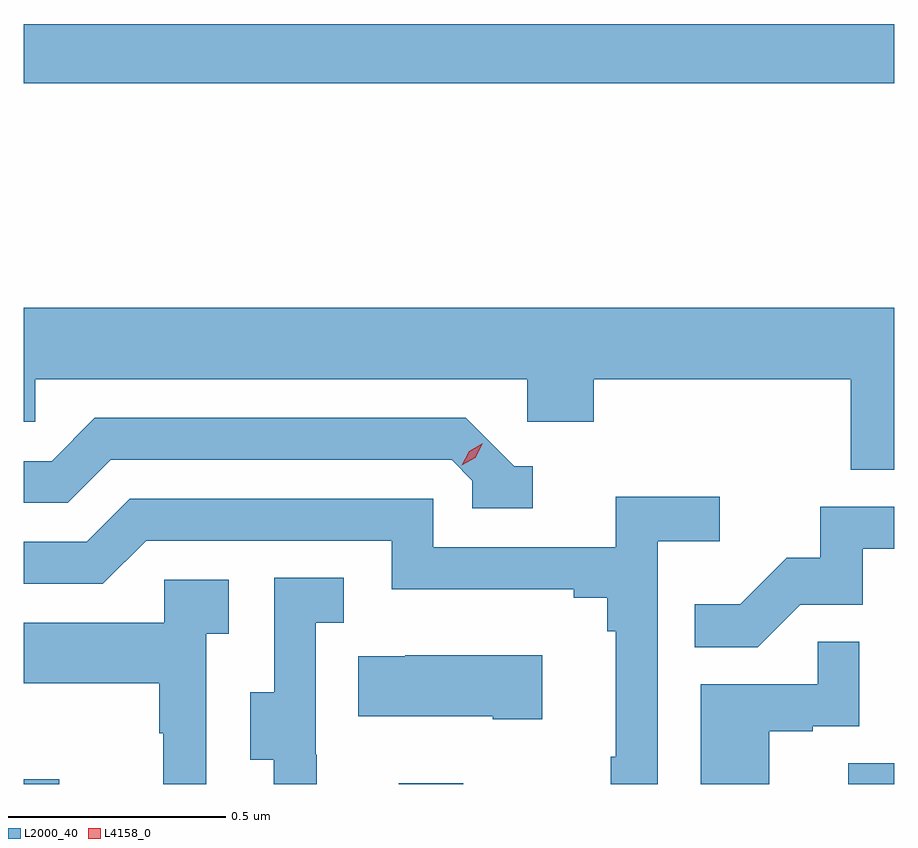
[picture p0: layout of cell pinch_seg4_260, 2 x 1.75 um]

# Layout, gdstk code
import gdstk
lib = gdstk.Library(unit=1e-6, precision=1e-09)
def R(c, l, rs):  # rectangles x0, y0, x1, y1
    for r in rs: c.add(gdstk.rectangle(r[:2], r[2:], *l))
def P(c, l, *ps):  # polygons
    for p in ps: c.add(gdstk.Polygon(p, *l))
L2000_40 = (2000, 40)
L4158_0 = (4158, 0)

pinch_seg4_260 = lib.new_cell('pinch_seg4_260')
R(pinch_seg4_260, L2000_40, [(929.467,811.874,929.549,811.885), (930.329,811.874,930.477,811.876), (931.361,811.874,931.467,811.922), (929.467,813.484,931.467,813.62)])
P(pinch_seg4_260, L2000_40, [(931.467,812.968),(929.467,812.968),(929.467,812.706),(929.493,812.706),(929.493,812.804),(930.624,812.804),(930.624,812.706),(930.776,812.706),(930.776,812.804),(931.367,812.804),(931.367,812.596),(931.467,812.596)],
  [(930.637,812.604),(930.594,812.604),(930.483,812.715),(929.63,812.715),(929.531,812.616),(929.467,812.616),(929.467,812.52),(929.568,812.52),(929.667,812.619),(930.45,812.619),(930.498,812.571),(930.498,812.508),(930.637,812.508)],
  [(930.924,812.432),(931.066,812.432),(931.066,812.534),(930.827,812.534),(930.827,812.418),(930.408,812.418),(930.408,812.529),(929.711,812.529),(929.612,812.43),(929.467,812.43),(929.467,812.334),(929.649,812.334),(929.748,812.433),(930.312,812.433),(930.312,812.321),(930.731,812.321),(930.731,812.302),(930.808,812.302),(930.808,812.225),(930.827,812.225),(930.827,811.937),(930.816,811.937),(930.816,811.874),(930.924,811.874)],
  [(931.251,812.286),(931.395,812.286),(931.395,812.415),(931.467,812.415),(931.467,812.511),(931.297,812.511),(931.297,812.394),(931.22,812.394),(931.113,812.287),(931.009,812.287),(931.009,812.188),(931.153,812.188)],
  [(930.14,811.941),(930.138,811.941),(930.138,812.245),(930.202,812.245),(930.202,812.348),(930.042,812.348),(930.042,812.085),(929.987,812.085),(929.987,811.93),(930.041,811.93),(930.041,811.874),(930.14,811.874)],
  [(929.886,812.219),(929.938,812.219),(929.938,812.343),(929.79,812.343),(929.79,812.245),(929.467,812.245),(929.467,812.105),(929.778,812.105),(929.778,811.991),(929.788,811.991),(929.788,811.874),(929.886,811.874)],
  [(931.18,811.995),(931.28,811.995),(931.28,812.007),(931.386,812.007),(931.386,812.201),(931.291,812.201),(931.291,812.103),(931.022,812.103),(931.022,811.874),(931.18,811.874)],
  [(930.658,812.17),(930.343,812.17),(930.343,812.167),(930.235,812.167),(930.235,812.03),(930.545,812.03),(930.545,812.023),(930.658,812.023)])
P(pinch_seg4_260, L4158_0, [(930.473,812.606),(930.473,812.606),(930.49,812.638),(930.521,812.657),(930.522,812.657),(930.522,812.657),(930.504,812.624),(930.473,812.606)])

lib.write_gds('pinch_seg4_260.gds')
